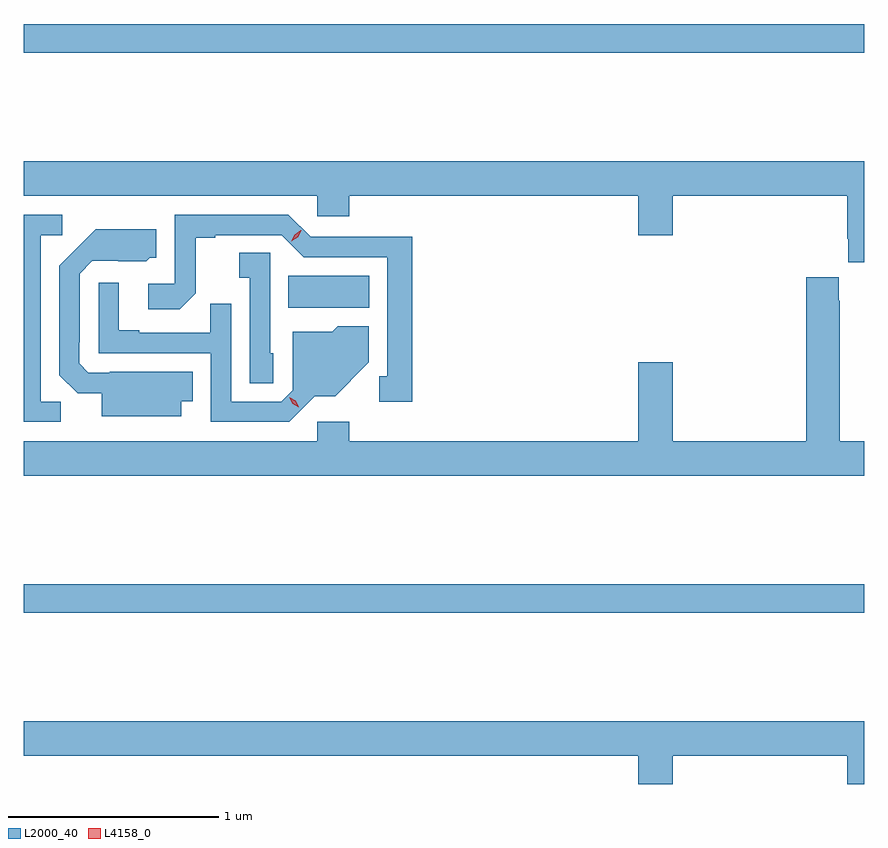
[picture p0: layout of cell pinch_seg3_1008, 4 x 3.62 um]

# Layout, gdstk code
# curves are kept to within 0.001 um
import gdstk
lib = gdstk.Library(unit=1e-6, precision=1e-09)
def R(c, l, rs):  # rectangles x0, y0, x1, y1
    for r in rs: c.add(gdstk.rectangle(r[:2], r[2:], *l))
def P(c, l, *ps):  # polygons
    for p in ps: c.add(gdstk.Polygon(p, *l))
L2000_40 = (2000, 40)
L4158_0 = (4158, 0)

pinch_seg3_1008 = lib.new_cell('pinch_seg3_1008')
R(pinch_seg3_1008, L2000_40, [(401.844,678.952,405.844,679.088), (403.102,680.402,403.489,680.554), (401.844,681.616,405.844,681.752)])
P(pinch_seg3_1008, L2000_40, [(405.844,681.1),(401.844,681.1),(401.844,680.936),(403.242,680.936),(403.242,680.838),(403.394,680.838),(403.394,680.936),(404.768,680.936),(404.768,680.748),(404.932,680.748),(404.932,680.936),(405.761,680.936),(405.761,680.731),(405.767,680.731),(405.767,680.619),(405.844,680.619)],
  [(402.021,679.955),(401.925,679.955),(401.925,680.748),(402.028,680.748),(402.028,680.844),(401.844,680.844),(401.844,679.86),(402.021,679.86)],
  [(403.693,680.741),(403.442,680.741),(403.442,680.739),(403.209,680.739),(403.104,680.844),(402.564,680.844),(402.564,680.517),(402.438,680.517),(402.438,680.396),(402.588,680.396),(402.663,680.471),(402.663,680.736),(402.757,680.736),(402.757,680.748),(403.072,680.748),(403.177,680.643),(403.574,680.643),(403.574,680.076),(403.536,680.076),(403.536,679.956),(403.693,679.956)],
  [(402.595,679.958),(402.65,679.958),(402.65,680.098),(402.253,680.098),(402.253,680.094),(402.153,680.094),(402.108,680.139),(402.108,680.239),(402.111,680.239),(402.111,680.565),(402.171,680.625),(402.428,680.624),(402.444,680.64),(402.475,680.64),(402.475,680.776),(402.187,680.776),(402.015,680.602),(402.015,680.082),(402.101,679.996),(402.215,679.996),(402.215,679.886),(402.595,679.886)],
  [(403.032,680.187),(403.017,680.187),(403.017,680.663),(402.87,680.663),(402.87,680.545),(402.921,680.545),(402.921,680.043),(403.032,680.043)],
  [(405.844,679.768),(405.726,679.768),(405.726,680.435),(405.721,680.435),(405.721,680.548),(405.566,680.548),(405.566,679.768),(404.932,679.768),(404.932,680.143),(404.768,680.143),(404.768,679.768),(403.394,679.768),(403.394,679.861),(403.242,679.861),(403.242,679.768),(401.844,679.768),(401.844,679.604),(405.844,679.604)],
  [(403.23,679.982),(403.326,679.982),(403.486,680.143),(403.486,680.314),(403.339,680.314),(403.312,680.287),(403.125,680.287),(403.125,680.01),(403.071,679.956),(402.831,679.956),(402.831,680.422),(402.733,680.422),(402.733,680.283),(402.394,680.283),(402.394,680.296),(402.298,680.296),(402.298,680.521),(402.201,680.521),(402.201,680.187),(402.735,680.187),(402.735,679.86),(403.108,679.86)],
  [(404.932,678.272),(405.761,678.272),(405.761,678.137),(405.844,678.137),(405.844,678.436),(401.844,678.436),(401.844,678.272),(404.768,678.272),(404.768,678.137),(404.932,678.137)])
P(pinch_seg3_1008, L4158_0, [(403.118,680.718),(403.118,680.718),(403.133,680.75),(403.163,680.77),(403.164,680.77),(403.164,680.769),(403.148,680.737),(403.118,680.718)],
  [(403.154,679.93),(403.124,679.946),(403.108,679.976),(403.108,679.976),(403.108,679.976),(403.138,679.96),(403.154,679.93),(403.154,679.93)])

lib.write_gds('pinch_seg3_1008.gds')
